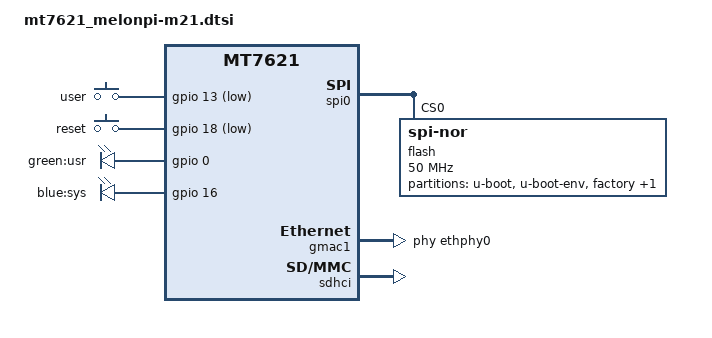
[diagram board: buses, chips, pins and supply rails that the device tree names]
// SPDX-License-Identifier: GPL-2.0-or-later OR MIT

#include "mt7621.dtsi"

#include <dt-bindings/gpio/gpio.h>
#include <dt-bindings/input/input.h>

/ {
	compatible = "melonpi,m21", "mediatek,mt7621-soc";

	aliases {
		led-boot = &led_sys;
		led-failsafe = &led_sys;
		led-running = &led_sys;
		led-upgrade = &led_sys;
		label-mac-device = &gmac0;
	};

	chosen {
		bootargs = "console=ttyS0,115200";
	};

	keys {
		compatible = "gpio-keys";

		user {
			label = "user";
			gpios = <&gpio 13 GPIO_ACTIVE_LOW>;
			linux,code = <BTN_0>;
			linux,input-type = <EV_SW>;
		};

		reset {
			label = "reset";
			gpios = <&gpio 18 GPIO_ACTIVE_LOW>;
			linux,code = <KEY_RESTART>;
		};
	};

	leds {
		compatible = "gpio-leds";

		usr {
			label = "green:usr";
			gpios = <&gpio 0 GPIO_ACTIVE_HIGH>;
		};

		led_sys: sys {
			label = "blue:sys";
			gpios = <&gpio 16 GPIO_ACTIVE_HIGH>;
		};
	};
};

&spi0 {
	status = "okay";

	flash@0 {
		compatible = "jedec,spi-nor";
		reg = <0>;
		spi-max-frequency = <50000000>;
		m25p,fast-read;
		broken-flash-reset;		

		partitions {
			compatible = "fixed-partitions";
			#address-cells = <1>;
			#size-cells = <1>;

			partition@0 {
				label = "u-boot";
				reg = <0x0 0x30000>;
				read-only;
			};

			partition@30000 {
				label = "u-boot-env";
				reg = <0x30000 0x10000>;
				read-only;
			};

			partition@40000 {
				label = "factory";
				reg = <0x40000 0x10000>;
				read-only;

				nvmem-layout {
					compatible = "fixed-layout";
					#address-cells = <1>;
					#size-cells = <1>;

					macaddr_factory_e000: macaddr@e000 {
						reg = <0xe000 0x6>;
					};

					macaddr_factory_e006: macaddr@e006 {
						reg = <0xe006 0x6>;
					};
				};
			};

			firmware: partition@50000 {
				compatible = "denx,uimage";
				label = "firmware";
				/* reg property is set based on flash size in DTS files */
			};
		};
	};
};

&gmac0 {
	nvmem-cells = <&macaddr_factory_e000>;
	nvmem-cell-names = "mac-address";
};

&gmac1 {
	status = "okay";
	label = "wan";
	phy-handle = <&ethphy0>;

	nvmem-cells = <&macaddr_factory_e006>;
	nvmem-cell-names = "mac-address";
};

&ethphy0 {
	/delete-property/ interrupts;
};

&switch0 {
	ports {
		port@1 {
			status = "okay";
			label = "lan";
		};
	};	
};

&pcie {
	status = "disabled";
};

&sdhci {
	status = "okay";
};

&state_default {
	gpio {
		groups = "uart2", "jtag", "wdt";
		function = "gpio";
	};
};

